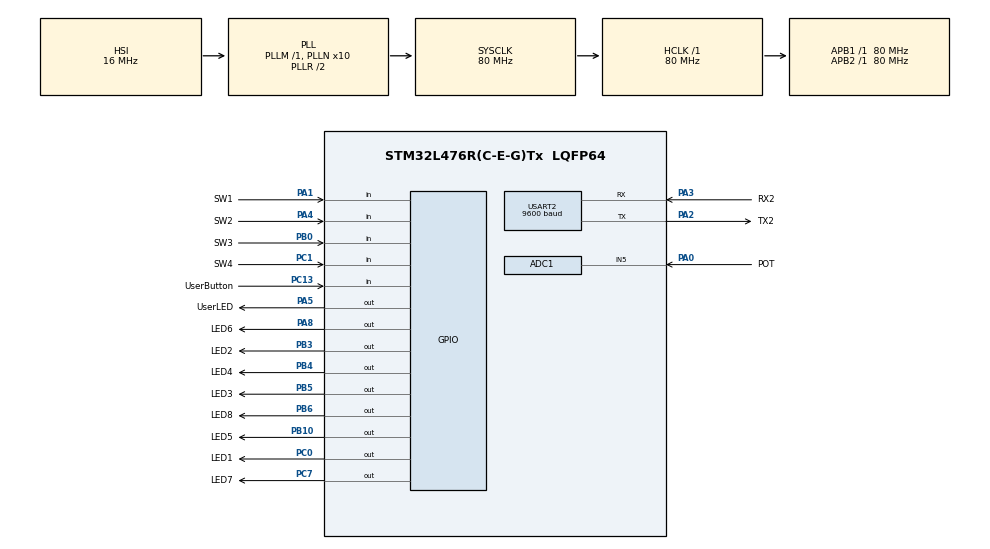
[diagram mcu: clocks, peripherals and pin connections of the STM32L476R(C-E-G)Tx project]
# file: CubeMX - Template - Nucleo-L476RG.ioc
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ADC1.Channel-0\#ChannelRegularConversion=ADC_CHANNEL_5
ADC1.NbrOfConversionFlag=1
ADC1.OffsetNumber-0\#ChannelRegularConversion=ADC_OFFSET_NONE
ADC1.Overrun=ADC_OVR_DATA_OVERWRITTEN
ADC1.Rank-0\#ChannelRegularConversion=1
ADC1.Resolution=ADC_RESOLUTION_12B
ADC1.SamplingTime-0\#ChannelRegularConversion=ADC_SAMPLETIME_2CYCLES_5
ADC1.master=1
FREERTOS.Events01=eventFlag,Dynamic,NULL
FREERTOS.Tasks01=EventWaitThread,24,128,EventWait,Default,NULL,Dynamic,NULL,NULL;EventSetThread1,24,128,EventSetByDelay,Default,NULL,Dynamic,NULL,NULL;EventSetThread2,24,128,EventSetByButton,Default,NULL,Dynamic,NULL,NULL
FREERTOS.configUSE_NEWLIB_REENTRANT=0
Mcu.Family=STM32L4
Mcu.Name=STM32L476R(C-E-G)Tx
Mcu.Package=LQFP64
NVIC.PriorityGroup=NVIC_PRIORITYGROUP_4
NVIC.TIM6_DAC_IRQn=true\:15\:0\:false\:false\:true\:false\:false\:true\:true
NVIC.TimeBase=TIM6_DAC_IRQn
NVIC.TimeBaseIP=TIM6
PA0.GPIO_Label=POT
PA0.Signal=ADCx_IN5
PA1.GPIO_Label=SW1
PA1.Signal=GPIO_Input
PA13\ (JTMS-SWDIO).GPIO_Label=TMS
PA13\ (JTMS-SWDIO).Mode=Serial_Wire
PA13\ (JTMS-SWDIO).Signal=SYS_JTMS-SWDIO
PA14\ (JTCK-SWCLK).GPIO_Label=TCK
PA14\ (JTCK-SWCLK).Mode=Serial_Wire
PA14\ (JTCK-SWCLK).Signal=SYS_JTCK-SWCLK
PA2.GPIO_Label=TX2
PA2.GPIO_Mode=GPIO_MODE_AF_PP
PA2.GPIO_PuPd=GPIO_NOPULL
PA2.GPIO_Speed=GPIO_SPEED_FREQ_VERY_HIGH
PA2.Mode=Asynchronous
PA2.Signal=USART2_TX
PA3.GPIO_Label=RX2
PA3.GPIO_Mode=GPIO_MODE_AF_PP
PA3.GPIO_PuPd=GPIO_NOPULL
PA3.GPIO_Speed=GPIO_SPEED_FREQ_VERY_HIGH
PA3.Mode=Asynchronous
PA3.Signal=USART2_RX
PA4.GPIO_Label=SW2
PA4.Signal=GPIO_Input
PA5.GPIO_Label=UserLED
PA5.GPIO_ModeDefaultOutputPP=GPIO_MODE_OUTPUT_PP
PA5.GPIO_PuPd=GPIO_NOPULL
PA5.GPIO_Speed=GPIO_SPEED_FREQ_LOW
PA5.Signal=GPIO_Output
PA8.GPIO_Label=LED6
PA8.Signal=GPIO_Output
PB0.GPIO_Label=SW3
PB0.Signal=GPIO_Input
PB10.GPIO_Label=LED5
PB10.Signal=GPIO_Output
PB3\ (JTDO-TRACESWO).GPIO_Label=LED2
PB3\ (JTDO-TRACESWO).Signal=GPIO_Output
PB4\ (NJTRST).GPIO_Label=LED4
PB4\ (NJTRST).Signal=GPIO_Output
PB5.GPIO_Label=LED3
PB5.Signal=GPIO_Output
PB6.GPIO_Label=LED8
PB6.Signal=GPIO_Output
PC0.GPIO_Label=LED1
PC0.Signal=GPIO_Output
PC1.GPIO_Label=SW4
PC1.Signal=GPIO_Input
PC13.GPIO_Label=UserButton
PC13.Signal=GPIO_Input
PC7.GPIO_Label=LED7
PC7.Signal=GPIO_Output
ProjectManager.HeapSize=0x200
ProjectManager.StackSize=0x400
ProjectManager.TargetToolchain=Makefile
RCC.ADCFreq_Value=64000000
RCC.AHBFreq_Value=80000000
RCC.APB1Freq_Value=80000000
RCC.APB1TimFreq_Value=80000000
RCC.APB2Freq_Value=80000000
RCC.APB2TimFreq_Value=80000000
RCC.CortexFreq_Value=80000000
RCC.HCLKFreq_Value=80000000
RCC.HSE_VALUE=8000000
RCC.HSI_VALUE=16000000
RCC.LSE_VALUE=32768
RCC.MSI_VALUE=4000000
RCC.PLLN=10
RCC.PLLSourceVirtual=RCC_PLLSOURCE_HSI
RCC.PREFETCH_ENABLE=1
RCC.SYSCLKFreq_VALUE=80000000
RCC.SYSCLKSource=RCC_SYSCLKSOURCE_PLLCLK
RCC.USBFreq_Value=64000000
RCC.VCOOutputFreq_Value=160000000
SH.ADCx_IN5.0=ADC1_IN5,IN5-Single-Ended
USART2.BaudRate=9600
USART2.OverrunDisableParam=ADVFEATURE_OVERRUN_DISABLE
USART2.VirtualMode-Asynchronous=VM_ASYNC
VP_FREERTOS_VS_CMSIS_V2.Mode=CMSIS_V2
VP_SYS_VS_tim6.Mode=TIM6
board=NUCLEO-L476RG

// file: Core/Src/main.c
/* USER CODE BEGIN Header */
/**
  ******************************************************************************
  * @file           : main.c
  * @brief          : Main program body
  ******************************************************************************
  * @attention
  *
  * Copyright (c) 2023 STMicroelectronics.
  * All rights reserved.
  *
  * This software is licensed under terms that can be found in the LICENSE file
  * in the root directory of this software component.
  * If no LICENSE file comes with this software, it is provided AS-IS.
  *
  ******************************************************************************
  */
	// Versie: 20252026
/* USER CODE END Header */
#include "main.h"
#include "cmsis_os.h"

/* USER CODE BEGIN Includes */
#include "leds.h"
#include "buttons.h"
#include "usart2.h"
#include "ad.h"
#include "stdio.h"
/* USER CODE END Includes */

ADC_HandleTypeDef hadc1;

UART_HandleTypeDef huart2;

/* Definitions for EventWaitThread */
osThreadId_t EventWaitThreadHandle;
const osThreadAttr_t EventWaitThread_attributes = {
  .name = "EventWaitThread",
  .stack_size = 128 * 4,
  .priority = (osPriority_t) osPriorityNormal,
};
/* Definitions for EventSetThread1 */
osThreadId_t EventSetThread1Handle;
const osThreadAttr_t EventSetThread1_attributes = {
  .name = "EventSetThread1",
  .stack_size = 128 * 4,
  .priority = (osPriority_t) osPriorityNormal,
};
/* Definitions for EventSetThread2 */
osThreadId_t EventSetThread2Handle;
const osThreadAttr_t EventSetThread2_attributes = {
  .name = "EventSetThread2",
  .stack_size = 128 * 4,
  .priority = (osPriority_t) osPriorityNormal,
};
/* Definitions for eventFlag */
osEventFlagsId_t eventFlagHandle;
const osEventFlagsAttr_t eventFlag_attributes = {
  .name = "eventFlag"
};

void SystemClock_Config(void);
static void MX_GPIO_Init(void);
static void MX_ADC1_Init(void);
static void MX_USART2_UART_Init(void);
void EventWait(void *argument);
void EventSetByDelay(void *argument);
void EventSetByButton(void *argument);

int main(void)
{

  /* MCU Configuration--------------------------------------------------------*/

  /* Reset of all peripherals, Initializes the Flash interface and the Systick. */
  HAL_Init();

  /* Configure the system clock */
  SystemClock_Config();

  /* Initialize all configured peripherals */
  MX_GPIO_Init();
  MX_ADC1_Init();
  MX_USART2_UART_Init();
  /* USER CODE BEGIN 2 */
	// Laten weten dat we opgestart zijn, via de USART2 (USB).
	printf("Reboot\r\n");
  /* USER CODE END 2 */

  /* Init scheduler */
  osKernelInitialize();

  /* Create the thread(s) */
  /* creation of EventWaitThread */
  EventWaitThreadHandle = osThreadNew(EventWait, NULL, &EventWaitThread_attributes);

  /* creation of EventSetThread1 */
  EventSetThread1Handle = osThreadNew(EventSetByDelay, NULL, &EventSetThread1_attributes);

  /* creation of EventSetThread2 */
  EventSetThread2Handle = osThreadNew(EventSetByButton, NULL, &EventSetThread2_attributes);

  /* Create the event(s) */
  /* creation of eventFlag */
  eventFlagHandle = osEventFlagsNew(&eventFlag_attributes);

  /* Start scheduler */
  osKernelStart();

  /* We should never get here as control is now taken by the scheduler */

  /* Infinite loop */
  while (1)
  {

  }
}

void SystemClock_Config(void)
{
  RCC_OscInitTypeDef RCC_OscInitStruct = {0};
  RCC_ClkInitTypeDef RCC_ClkInitStruct = {0};

  /** Configure the main internal regulator output voltage
  */
  if (HAL_PWREx_ControlVoltageScaling(PWR_REGULATOR_VOLTAGE_SCALE1) != HAL_OK)
  {
    Error_Handler();
  }

  /** Initializes the RCC Oscillators according to the specified parameters
  * in the RCC_OscInitTypeDef structure.
  */
  RCC_OscInitStruct.OscillatorType = RCC_OSCILLATORTYPE_HSI;
  RCC_OscInitStruct.HSIState = RCC_HSI_ON;
  RCC_OscInitStruct.HSICalibrationValue = RCC_HSICALIBRATION_DEFAULT;
  RCC_OscInitStruct.PLL.PLLState = RCC_PLL_ON;
  RCC_OscInitStruct.PLL.PLLSource = RCC_PLLSOURCE_HSI;
  RCC_OscInitStruct.PLL.PLLM = 1;
  RCC_OscInitStruct.PLL.PLLN = 10;
  RCC_OscInitStruct.PLL.PLLP = RCC_PLLP_DIV7;
  RCC_OscInitStruct.PLL.PLLQ = RCC_PLLQ_DIV2;
  RCC_OscInitStruct.PLL.PLLR = RCC_PLLR_DIV2;
  if (HAL_RCC_OscConfig(&RCC_OscInitStruct) != HAL_OK)
  {
    Error_Handler();
  }

  /** Initializes the CPU, AHB and APB buses clocks
  */
  RCC_ClkInitStruct.ClockType = RCC_CLOCKTYPE_HCLK|RCC_CLOCKTYPE_SYSCLK
                              |RCC_CLOCKTYPE_PCLK1|RCC_CLOCKTYPE_PCLK2;
  RCC_ClkInitStruct.SYSCLKSource = RCC_SYSCLKSOURCE_PLLCLK;
  RCC_ClkInitStruct.AHBCLKDivider = RCC_SYSCLK_DIV1;
  RCC_ClkInitStruct.APB1CLKDivider = RCC_HCLK_DIV1;
  RCC_ClkInitStruct.APB2CLKDivider = RCC_HCLK_DIV1;

  if (HAL_RCC_ClockConfig(&RCC_ClkInitStruct, FLASH_LATENCY_4) != HAL_OK)
  {
    Error_Handler();
  }
}

static void MX_ADC1_Init(void)
{

  ADC_MultiModeTypeDef multimode = {0};
  ADC_ChannelConfTypeDef sConfig = {0};

  /** Common config
  */
  hadc1.Instance = ADC1;
  hadc1.Init.ClockPrescaler = ADC_CLOCK_ASYNC_DIV1;
  hadc1.Init.Resolution = ADC_RESOLUTION_12B;
  hadc1.Init.DataAlign = ADC_DATAALIGN_RIGHT;
  hadc1.Init.ScanConvMode = ADC_SCAN_DISABLE;
  hadc1.Init.EOCSelection = ADC_EOC_SINGLE_CONV;
  hadc1.Init.LowPowerAutoWait = DISABLE;
  hadc1.Init.ContinuousConvMode = DISABLE;
  hadc1.Init.NbrOfConversion = 1;
  hadc1.Init.DiscontinuousConvMode = DISABLE;
  hadc1.Init.ExternalTrigConv = ADC_SOFTWARE_START;
  hadc1.Init.ExternalTrigConvEdge = ADC_EXTERNALTRIGCONVEDGE_NONE;
  hadc1.Init.DMAContinuousRequests = DISABLE;
  hadc1.Init.Overrun = ADC_OVR_DATA_OVERWRITTEN;
  hadc1.Init.OversamplingMode = DISABLE;
  if (HAL_ADC_Init(&hadc1) != HAL_OK)
  {
    Error_Handler();
  }

  /** Configure the ADC multi-mode
  */
  multimode.Mode = ADC_MODE_INDEPENDENT;
  if (HAL_ADCEx_MultiModeConfigChannel(&hadc1, &multimode) != HAL_OK)
  {
    Error_Handler();
  }

  /** Configure Regular Channel
  */
  sConfig.Channel = ADC_CHANNEL_5;
  sConfig.Rank = ADC_REGULAR_RANK_1;
  sConfig.SamplingTime = ADC_SAMPLETIME_2CYCLES_5;
  sConfig.SingleDiff = ADC_SINGLE_ENDED;
  sConfig.OffsetNumber = ADC_OFFSET_NONE;
  sConfig.Offset = 0;
  if (HAL_ADC_ConfigChannel(&hadc1, &sConfig) != HAL_OK)
  {
    Error_Handler();
  }

}

static void MX_USART2_UART_Init(void)
{

  huart2.Instance = USART2;
  huart2.Init.BaudRate = 9600;
  huart2.Init.WordLength = UART_WORDLENGTH_8B;
  huart2.Init.StopBits = UART_STOPBITS_1;
  huart2.Init.Parity = UART_PARITY_NONE;
  huart2.Init.Mode = UART_MODE_TX_RX;
  huart2.Init.HwFlowCtl = UART_HWCONTROL_NONE;
  huart2.Init.OverSampling = UART_OVERSAMPLING_16;
  huart2.Init.OneBitSampling = UART_ONE_BIT_SAMPLE_DISABLE;
  huart2.AdvancedInit.AdvFeatureInit = UART_ADVFEATURE_RXOVERRUNDISABLE_INIT;
  huart2.AdvancedInit.OverrunDisable = UART_ADVFEATURE_OVERRUN_DISABLE;
  if (HAL_UART_Init(&huart2) != HAL_OK)
  {
    Error_Handler();
  }

}

static void MX_GPIO_Init(void)
{
  GPIO_InitTypeDef GPIO_InitStruct = {0};

  /* GPIO Ports Clock Enable */
  __HAL_RCC_GPIOC_CLK_ENABLE();
  __HAL_RCC_GPIOA_CLK_ENABLE();
  __HAL_RCC_GPIOB_CLK_ENABLE();

  /*Configure GPIO pin Output Level */
  HAL_GPIO_WritePin(GPIOC, LED1_Pin|LED7_Pin, GPIO_PIN_RESET);

  /*Configure GPIO pin Output Level */
  HAL_GPIO_WritePin(GPIOA, UserLED_Pin|LED6_Pin, GPIO_PIN_RESET);

  /*Configure GPIO pin Output Level */
  HAL_GPIO_WritePin(GPIOB, LED5_Pin|LED2_Pin|LED4_Pin|LED3_Pin
                          |LED8_Pin, GPIO_PIN_RESET);

  /*Configure GPIO pins : UserButton_Pin SW4_Pin */
  GPIO_InitStruct.Pin = UserButton_Pin|SW4_Pin;
  GPIO_InitStruct.Mode = GPIO_MODE_INPUT;
  GPIO_InitStruct.Pull = GPIO_NOPULL;
  HAL_GPIO_Init(GPIOC, &GPIO_InitStruct);

  /*Configure GPIO pins : LED1_Pin LED7_Pin */
  GPIO_InitStruct.Pin = LED1_Pin|LED7_Pin;
  GPIO_InitStruct.Mode = GPIO_MODE_OUTPUT_PP;
  GPIO_InitStruct.Pull = GPIO_NOPULL;
  GPIO_InitStruct.Speed = GPIO_SPEED_FREQ_LOW;
  HAL_GPIO_Init(GPIOC, &GPIO_InitStruct);

  /*Configure GPIO pins : SW1_Pin SW2_Pin */
  GPIO_InitStruct.Pin = SW1_Pin|SW2_Pin;
  GPIO_InitStruct.Mode = GPIO_MODE_INPUT;
  GPIO_InitStruct.Pull = GPIO_NOPULL;
  HAL_GPIO_Init(GPIOA, &GPIO_InitStruct);

  /*Configure GPIO pins : UserLED_Pin LED6_Pin */
  GPIO_InitStruct.Pin = UserLED_Pin|LED6_Pin;
  GPIO_InitStruct.Mode = GPIO_MODE_OUTPUT_PP;
  GPIO_InitStruct.Pull = GPIO_NOPULL;
  GPIO_InitStruct.Speed = GPIO_SPEED_FREQ_LOW;
  HAL_GPIO_Init(GPIOA, &GPIO_InitStruct);

  /*Configure GPIO pin : SW3_Pin */
  GPIO_InitStruct.Pin = SW3_Pin;
  GPIO_InitStruct.Mode = GPIO_MODE_INPUT;
  GPIO_InitStruct.Pull = GPIO_NOPULL;
  HAL_GPIO_Init(SW3_GPIO_Port, &GPIO_InitStruct);

  /*Configure GPIO pins : LED5_Pin LED2_Pin LED4_Pin LED3_Pin
                           LED8_Pin */
  GPIO_InitStruct.Pin = LED5_Pin|LED2_Pin|LED4_Pin|LED3_Pin
                          |LED8_Pin;
  GPIO_InitStruct.Mode = GPIO_MODE_OUTPUT_PP;
  GPIO_InitStruct.Pull = GPIO_NOPULL;
  GPIO_InitStruct.Speed = GPIO_SPEED_FREQ_LOW;
  HAL_GPIO_Init(GPIOB, &GPIO_InitStruct);

}

void EventWait(void *argument)
{
  /* USER CODE BEGIN 5 */
	uint8_t ledState = 0;

  /* Infinite loop */
  for(;;)
  {
		// Wachten (in blocked state) tot een Event Flag beschikbaar is (als alternatief op het wachten van op een semafoor).
		// Zie: https://arm-software.github.io/CMSIS_5/RTOS2/html/group__CMSIS__RTOS__EventFlags.html.
		// De definitie van INCREMENT_FLAG kan je vinden in main.h.
		// OPM: bij het vaststellen dat een vlag geset is, wordt automatisch de vlag weer gereset voor volgend gebruik.
    osEventFlagsWait(eventFlagHandle, INCREMENT_FLAG, osFlagsWaitAll, osWaitForever);

		// LED-teller maken.
		ByteToLeds(ledState++);

		// OPM: dit concept kan je in principe ook uitwerken met Event en/of Thread flags...
  }
  /* USER CODE END 5 */
}

void EventSetByDelay(void *argument)
{
  /* USER CODE BEGIN EventSetByDelay */
  /* Infinite loop */
  for(;;)
  {
		// De Event Flag beschikbaar stellen (setten) voor gebruik in een andere thread.
		// Zie: https://arm-software.github.io/CMSIS_5/RTOS2/html/group__CMSIS__RTOS__EventFlags.html.
		osEventFlagsSet(eventFlagHandle, INCREMENT_FLAG);

		// Even wachten.
    osDelay(3000);
  }
  /* USER CODE END EventSetByDelay */
}

void EventSetByButton(void *argument)
{
  /* USER CODE BEGIN EventSetByButton */
	bool sw1Help = false;

  /* Infinite loop */
  for(;;)
  {
		// Flankdetectie doen op SW1 (met antidenderwachttijd).
		if(SW1Active() && (sw1Help == false))
		{
			sw1Help = true;

			// De Event Flag beschikbaar stellen (setten) voor gebruik in een andere thread.
			// Zie: https://arm-software.github.io/CMSIS_5/RTOS2/html/group__CMSIS__RTOS__EventFlags.html.
			osEventFlagsSet(eventFlagHandle, INCREMENT_FLAG);
		}

		if(!SW1Active())
			sw1Help = false;

		// Antidenderwachttijd.
		osDelay(10);
  }
  /* USER CODE END EventSetByButton */
}

void HAL_TIM_PeriodElapsedCallback(TIM_HandleTypeDef *htim)
{
  if (htim->Instance == TIM6)
  {
    HAL_IncTick();
  }
}

void Error_Handler(void)
{
  __disable_irq();
  while (1)
  {
  }
}
#ifdef USE_FULL_ASSERT
/**
  * @brief  Reports the name of the source file and the source line number
  *         where the assert_param error has occurred.
  * @param  file: pointer to the source file name
  * @param  line: assert_param error line source number
  * @retval None
  */
void assert_failed(uint8_t *file, uint32_t line)
{
  /* USER CODE BEGIN 6 */
  /* User can add his own implementation to report the file name and line number,
     ex: printf("Wrong parameters value: file %s on line %d\r\n", file, line) */
// Versie: 20252026
  /* USER CODE END 6 */
}
#endif /* USE_FULL_ASSERT */
